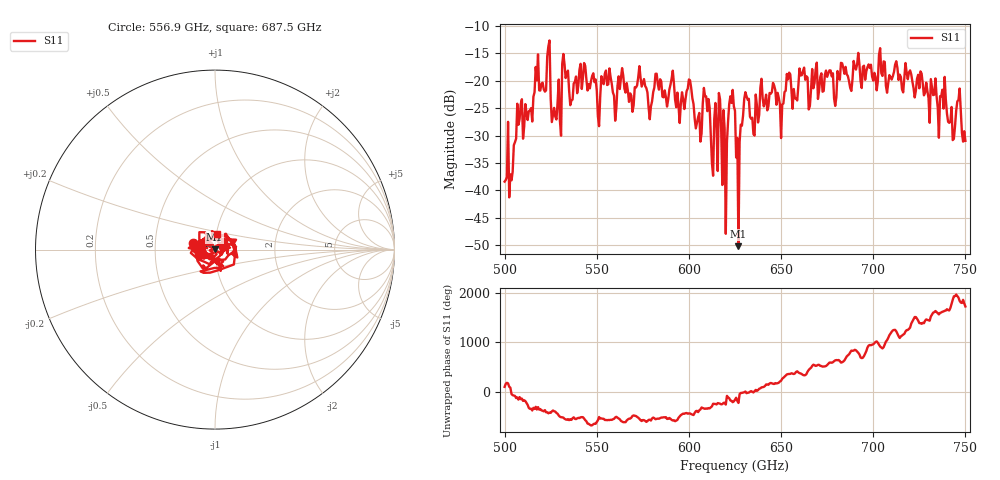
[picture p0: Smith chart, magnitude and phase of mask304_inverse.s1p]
!Created with skrf (http://scikit-rf.org).
# GHz S MA R 50.0
!freq magS11 angS11
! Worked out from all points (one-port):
!   401 points, 500 GHz to 750 GHz, reference 50 ohm
!   lowest |S11| = -50.2 dB at 626.9 GHz (marker M1), VSWR 1.01, Z = 49.7 + j0.174 ohm
!   |S11| at or under -10 dB: start of sweep to end of sweep
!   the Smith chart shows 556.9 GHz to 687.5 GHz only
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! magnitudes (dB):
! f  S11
! 500 GHz  -38.4
! 516.9 GHz  -17.5
! 523.8 GHz  -13.7
! 526.9 GHz  -24.9
! 531.2 GHz  -16.9
! 562.5 GHz  -21.5
! 578.8 GHz  -27.0
! 590.6 GHz  -19.6
! 593.8 GHz  -22.2
! 600 GHz  -19.8
! 605.6 GHz  -25.9
! 609.4 GHz  -22.9
! 612.5 GHz  -35.1
! 617.5 GHz  -28.9
! 619.4 GHz  -28.8
! 622.5 GHz  -22.8
! 625 GHz  -25.5
! 626.9 GHz  -50.2
! 631.2 GHz  -22.8
! 634.4 GHz  -26.7
! 640 GHz  -23.2
! 656.2 GHz  -25.1
! 687.5 GHz  -21.3
! 718.8 GHz  -19.7
! 738.1 GHz  -25.1
! 742.5 GHz  -24.8
! 746.2 GHz  -23.5
! 750 GHz  -31.0
